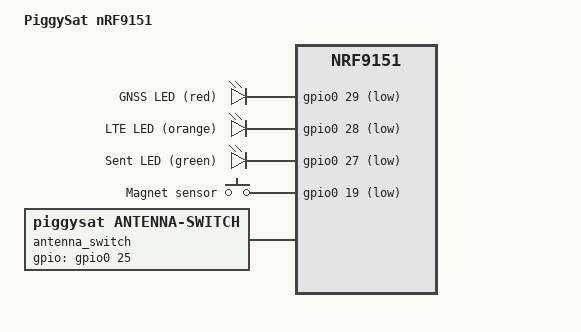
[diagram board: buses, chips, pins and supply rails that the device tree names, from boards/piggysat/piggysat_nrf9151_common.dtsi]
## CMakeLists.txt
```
#
# Copyright (c) 2020 Nordic Semiconductor
#
# SPDX-License-Identifier: LicenseRef-Nordic-5-Clause
#

cmake_minimum_required(VERSION 3.20.0)

# Local secrets (access token) live in a git-ignored file, see secrets.conf.example.
if(EXISTS ${CMAKE_CURRENT_LIST_DIR}/secrets.conf)
  list(APPEND EXTRA_CONF_FILE ${CMAKE_CURRENT_LIST_DIR}/secrets.conf)
else()
  message(WARNING "secrets.conf not found: CONFIG_APP_THINGSBOARD_ACCESS_TOKEN is empty "
                  "(copy secrets.conf.example to secrets.conf)")
endif()

find_package(Zephyr REQUIRED HINTS $ENV{ZEPHYR_BASE})
project(piggy-sat)

# NORDIC SDK APP START
target_sources(app PRIVATE
	src/main.c
	src/app_antenna.c
	src/app_leds.c
	src/app_button.c
	src/app_gnss.c
	src/app_rftest.c
	src/app_simtest.c
	src/app_shell.c
	src/app_modem.c
	src/app_transport.c
)
# NORDIC SDK APP END

zephyr_include_directories(src)

# Test tool: keep the debug port permanently open so the debugger and RTT always work, even
# after a full chip erase. The "unprotected" value is merged into UICR.APPROTECT and
# UICR.SECUREAPPROTECT of the flashed image (tfm_merged.hex); with the default
# NRF_APPROTECT_USE_UICR, the firmware then opens both access ports at boot.
# Remove this for production firmware.
if(CONFIG_TFM_FLASH_MERGED_BINARY AND NOT CONFIG_PARTITION_MANAGER_ENABLED)
  set(TFM_MERGED_HEX ${CMAKE_BINARY_DIR}/zephyr/tfm_merged.hex)
  add_custom_target(uicr_debug_open ALL
    COMMAND ${PYTHON_EXECUTABLE} ${ZEPHYR_BASE}/scripts/build/mergehex.py --overlap=replace
            -o ${TFM_MERGED_HEX} ${TFM_MERGED_HEX}
            ${CMAKE_CURRENT_SOURCE_DIR}/boards/piggysat/uicr_debug_open.hex
    COMMENT "Adding UICR debug-open values to tfm_merged.hex"
  )
  add_dependencies(uicr_debug_open zephyr_final)
endif()
```

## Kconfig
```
#
# Copyright (c) 2020 Nordic Semiconductor ASA
#
# SPDX-License-Identifier: LicenseRef-Nordic-5-Clause
#

menu "piggy_sat"

menu "LTE message test"

config APP_TELEMETRY_MESSAGE
	string "Telemetry message"
	default ""
	help
	  String placed in the "message" field of the telemetry JSON.

config APP_THINGSBOARD_HOST
	string "ThingsBoard host name or IP address"
	default ""
	help
	  Host name or literal IP address used for CoAP telemetry uploads to
	  ThingsBoard.

config APP_THINGSBOARD_IPV4
	string "ThingsBoard IPv4 address override"
	default ""
	help
	  Optional numeric IPv4 address used to bypass DNS resolution entirely.
	  When set, this address is used instead of APP_THINGSBOARD_HOST.

config APP_THINGSBOARD_PORT
	int "ThingsBoard CoAP port number"
	default 5683

config APP_THINGSBOARD_ACCESS_TOKEN
	string "ThingsBoard access token"
	default ""
	help
	  Access token inserted into the CoAP telemetry resource path
	  api/v1/<token>/telemetry.

config APP_COAP_ACK_TIMEOUT_MS
	int "CoAP initial ACK timeout in milliseconds"
	default 8000
	range 1000 100000
	help
	  Initial wait for the ACK of a confirmable CoAP request before it is
	  retransmitted. Each retransmission doubles the wait. NTN round trips
	  are long, so this is much higher than the CoAP default of 2 s to
	  avoid spending satellite airtime on needless retransmissions.

config APP_COAP_MAX_RETRANSMIT
	int "CoAP maximum retransmissions"
	default 2
	range 0 10
	help
	  Number of retransmissions of an unacknowledged telemetry request.
	  The application waits for the full retransmission sequence to end
	  before it counts the upload as failed.

config APP_LTE_ATTACH_TIMEOUT_SECONDS
	int "LTE attach timeout in seconds"
	default 600
	range 10 3600
	help
	  Maximum time the LTE message test waits for network registration
	  and PDN activation before giving up.

endmenu

menu "Modem and NTN"

config APP_APN
	string "APN for PDP context 0"
	default ""
	help
	  APN configured explicitly on the default PDP context before the modem
	  starts the network connection attempt.

config APP_MODEM_FW_EXPECTED
	string "Required modem firmware token"
	default "mfw_nrf9151-ntn"
	help
	  Substring that must be present in the modem firmware version returned
	  by AT+CGMR during boot. Leave empty to disable the boot-time firmware
	  compatibility check.

config APP_BAND_LOCK_LIST
	string "Band lock list"
	default "255,256"
	help
	  Comma-separated list of bands locked before the connection attempt.
	  For NTN operation, use NTN-only bands such as 255 and 256.

config APP_NTN_LATITUDE
	string "NTN latitude in degrees"
	default "45.4064"
	help
	  Fixed latitude given to the modem through ntn_location_set() for the
	  LTE message test. GNSS positions are not stored, so the modem needs a
	  configured location close to the real one to attach. Defaults to
	  Padova, Italy.

config APP_NTN_LONGITUDE
	string "NTN longitude in degrees"
	default "11.8768"
	help
	  Fixed longitude given to the modem through ntn_location_set().

config APP_NTN_ALTITUDE_METERS
	string "NTN altitude in meters"
	default "12.0"
	help
	  Fixed altitude given to the modem through ntn_location_set().

config APP_NTN_LOCATION_VALIDITY_SECONDS
	int "NTN location validity in seconds"
	default 43200
	range 0 2147483647
	help
	  Validity parameter passed to ntn_location_set(). A value of 0 means
	  infinite validity.

config APP_PSM_ENABLE
	bool "Enable LTE Power Saving Mode (PSM)"
	select LTE_PSM_REQ

config APP_EDRX_ENABLE
	bool "Enable LTE enhanced Discontinuous Reception (eDRX)"
	select LTE_EDRX_REQ

endmenu

menu "LTE CW TX test"

config APP_CW_BAND
	int "CW test band"
	default 255
	help
	  3GPP band number passed to AT%XRFTEST.

config APP_CW_FREQUENCY_100KHZ
	int "CW test frequency in 100 kHz units"
	default 16435
	range 6000 22000
	help
	  Uplink frequency passed to AT%XRFTEST, in 100 kHz units. The default
	  16435 (1643.5 MHz) is the middle of the band 255 uplink. The CW tone is
	  offset from this frequency by the modem (48.75 kHz in NB-IoT mode).

config APP_CW_POWER_DBM
	int "CW test output power in dBm"
	default 23
	range -50 23
	help
	  Requested TX power at the SiP antenna port.

endmenu

endmenu

module = APP
module-str = piggy_sat
source "$(ZEPHYR_BASE)/subsys/logging/Kconfig.template.log_config"

menu "Zephyr Kernel"
source "Kconfig.zephyr"
endmenu
```

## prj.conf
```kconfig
#
# Copyright (c) 2020 Nordic Semiconductor ASA
#
# SPDX-License-Identifier: LicenseRef-Nordic-5-Clause
#

# TF-M config
CONFIG_TFM_PROFILE_TYPE_MINIMAL=y

# General config
CONFIG_PICOLIBC_IO_FLOAT=y
CONFIG_LOG=y
CONFIG_LOG_MODE_MINIMAL=n
CONFIG_LOG_MODE_DEFERRED=y
CONFIG_LOG_DEFAULT_LEVEL=3
CONFIG_ASSERT=y
CONFIG_ASSERT_NO_COND_INFO=y
CONFIG_ASSERT_NO_MSG_INFO=y
CONFIG_HW_STACK_PROTECTION=y
CONFIG_RESET_ON_FATAL_ERROR=y

# Test shell (backend selected per board, RTT on PiggySat)
CONFIG_SHELL=y
CONFIG_SHELL_STACK_SIZE=4096
CONFIG_SHELL_LOG_BACKEND=y
# The NCS "lte" link-control commands clash with the test tool's "lte" command
CONFIG_LTE_SHELL=n
# Only "help" and the test commands: drop Zephyr's default shell commands
CONFIG_SHELL_CMDS=n
CONFIG_DATE_SHELL=n
CONFIG_DEVICE_SHELL=n
CONFIG_DEVMEM_SHELL=n
CONFIG_KERNEL_SHELL=n

# Network
CONFIG_NETWORKING=y
CONFIG_NET_NATIVE=n
CONFIG_NET_UDP=y
CONFIG_NET_SOCKETS=y
CONFIG_NET_SOCKETS_OFFLOAD=y
CONFIG_POSIX_API=y
CONFIG_COAP=y
CONFIG_COAP_CLIENT=y
CONFIG_COAP_CLIENT_STACK_SIZE=4096
CONFIG_COAP_CLIENT_MESSAGE_SIZE=256
CONFIG_COAP_CLIENT_MESSAGE_HEADER_SIZE=64
CONFIG_COAP_CLIENT_MAX_PATH_LENGTH=96

# LTE link control
CONFIG_LTE_LINK_CONTROL=y
CONFIG_LTE_NETWORK_MODE_DEFAULT=y

# Modem library
CONFIG_NRF_MODEM_LIB=y
CONFIG_NTN=y
CONFIG_MODEM_INFO=y
CONFIG_AT_MONITOR_HEAP_SIZE=2048

# Heap and stacks
CONFIG_HEAP_MEM_POOL_SIZE=2048
CONFIG_MAIN_STACK_SIZE=8192
CONFIG_SYSTEM_WORKQUEUE_STACK_SIZE=2048
CONFIG_DEBUG_COREDUMP=y
CONFIG_DEBUG_COREDUMP_BACKEND_LOGGING=y
CONFIG_DEBUG_COREDUMP_MEMORY_DUMP_MIN=y

# LTE parameters
CONFIG_APP_APN="go.mono"
CONFIG_APP_MODEM_FW_EXPECTED="mfw_nrf9151-ntn"
CONFIG_APP_BAND_LOCK_LIST="255,256"
CONFIG_APP_NTN_LATITUDE="45.4064"
CONFIG_APP_NTN_LONGITUDE="11.8768"
CONFIG_APP_NTN_ALTITUDE_METERS="12.0"
CONFIG_APP_NTN_LOCATION_VALIDITY_SECONDS=43200

## PSM
CONFIG_APP_PSM_ENABLE=n

## eDRX
CONFIG_APP_EDRX_ENABLE=n

## Enable required LTE link control modules
CONFIG_LTE_LC_EDRX_MODULE=y
CONFIG_LTE_LC_PDN_MODULE=y
CONFIG_LTE_LC_PSM_MODULE=y

# LTE message test
CONFIG_APP_TELEMETRY_MESSAGE="help"
CONFIG_APP_THINGSBOARD_HOST="coap.thingsboard.cloud"
CONFIG_APP_THINGSBOARD_IPV4=""
CONFIG_APP_THINGSBOARD_PORT=5683
# Access token: set it in secrets.conf (git-ignored), see secrets.conf.example
CONFIG_APP_LTE_ATTACH_TIMEOUT_SECONDS=600

# LTE CW TX test (band 255 uplink centre)
CONFIG_APP_CW_BAND=255
CONFIG_APP_CW_FREQUENCY_100KHZ=16435
CONFIG_APP_CW_POWER_DBM=23
```

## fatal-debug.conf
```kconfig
# SPDX-License-Identifier: Apache-2.0

CONFIG_RESET_ON_FATAL_ERROR=n
CONFIG_LOG_MODE_DEFERRED=n
CONFIG_LOG_MODE_IMMEDIATE=y
```

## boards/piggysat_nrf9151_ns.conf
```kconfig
# SPDX-License-Identifier: Apache-2.0

# PiggySat: no UART, logs over RTT through the TC2030 SWD connector
CONFIG_LOG_BACKEND_RTT=y
```

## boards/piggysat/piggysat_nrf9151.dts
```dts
/*
 * SPDX-License-Identifier: Apache-2.0
 */

/dts-v1/;
#include <nordic/nrf9151_laca.dtsi>
#include "piggysat_nrf9151_common.dtsi"

/ {
	chosen {
		zephyr,sram = &sram0_s;
		zephyr,flash = &flash0;
		zephyr,code-partition = &slot0_partition;
		zephyr,sram-secure-partition = &sram0_s;
		zephyr,sram-non-secure-partition = &sram0_ns;
	};
};
```

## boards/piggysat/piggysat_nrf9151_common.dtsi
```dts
/*
 * SPDX-License-Identifier: Apache-2.0
 *
 * PiggySat board (nRF9151 LACA). Pad numbers refer to the nRF9151 LGA package.
 *
 * Not available on this board: UART, I2C, SPI, external flash, MAGPIO/COEX
 * (no external LNA control). Logs go over RTT through the TC2030 SWD connector.
 */
#include <zephyr/dt-bindings/input/input-event-codes.h>

/ {
	model = "PiggySat nRF9151";
	compatible = "piggysat,piggysat-nrf9151";

	/* LEDs are tied to 3Vcc through a resistor and sunk by the GPIO. */
	leds {
		compatible = "gpio-leds";

		gnss_led: led_0 {
			gpios = <&gpio0 29 GPIO_ACTIVE_LOW>;	/* pad 48, D1, R8 4k7 */
			label = "GNSS LED (red)";
		};

		lte_led: led_1 {
			gpios = <&gpio0 28 GPIO_ACTIVE_LOW>;	/* pad 47, D2, R1 4k7 */
			label = "LTE LED (orange)";
		};

		sent_led: led_2 {
			gpios = <&gpio0 27 GPIO_ACTIVE_LOW>;	/* pad 45, D3, R4 470R */
			label = "Sent LED (green)";
		};
	};

	buttons {
		compatible = "gpio-keys";

		/* Magnet sensor S1 (TMR1304S) push-pull output: active (low) = magnet present. */
		magnet_sensor: button_0 {
			gpios = <&gpio0 19 GPIO_ACTIVE_LOW>;	/* pad 80, S1 */
			label = "Magnet sensor";
			zephyr,code = <INPUT_KEY_0>;
		};
	};

	/* J3 header (3Vcc / SW / GND) powers the external antenna selection switch
	 * and drives its control line: low = LTE, high (active) = GNSS.
	 */
	antenna_switch: antenna-switch {
		compatible = "piggysat,antenna-switch";
		gpios = <&gpio0 25 GPIO_ACTIVE_HIGH>;	/* pad 12 */
	};

	aliases {
		led0 = &gnss_led;
		led1 = &lte_led;
		led2 = &sent_led;
		sw0 = &magnet_sensor;
		watchdog0 = &wdt0;
	};
};

&gpiote {
	status = "okay";
};

&gpio0 {
	status = "okay";
};

/* Include default memory partition configuration file */
#include <nordic/nrf91xx_partition.dtsi>

/*
 * No bootloader on this board. The default layout reserves 0x0-0x10000 for
 * MCUboot, and with devicetree partitioning (NCS v3.4+, no Partition Manager)
 * that would leave the reset vector empty. Drop the MCUboot and update slots
 * and start image slot 0 at 0x0:
 *   0x0000_0000 TF-M secure image     (256 KB)
 *   0x0004_0000 Non-secure application (256 KB)
 * TF-M storage areas stay at 0xf0000 and above.
 */
/delete-node/ &boot_partition;
/delete-node/ &slot1_partition;

&slot0_partition {
	reg = <0x00000000 0x80000>;
	ranges = <0x0 0x0 0x80000>;
};

&slot0_ns_partition {
	reg = <0x00040000 0x40000>;
};
```

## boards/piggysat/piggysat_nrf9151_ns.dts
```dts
/*
 * SPDX-License-Identifier: Apache-2.0
 */

/dts-v1/;
#include <arm/nordic/nrf9151_ns_laca.dtsi>
#include "piggysat_nrf9151_common.dtsi"

/ {
	chosen {
		zephyr,flash = &flash0;
		zephyr,sram = &sram0_ns_app;
		zephyr,code-partition = &slot0_ns_partition;
	};
};
```

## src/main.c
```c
/*
 * Copyright (c) 2020 Nordic Semiconductor ASA
 *
 * SPDX-License-Identifier: LicenseRef-Nordic-5-Clause
 */

#include "app_internal.h"

#include <zephyr/drivers/hwinfo.h>
#include <zephyr/logging/log.h>

#include <modem/modem_info.h>
#include <modem/nrf_modem_lib.h>
#include <modem/ntn.h>

LOG_MODULE_REGISTER(app_main, CONFIG_APP_LOG_LEVEL);

static void log_reset_cause_flags(const char *label, uint32_t flags)
{
	if (flags & RESET_PIN)
	{
		LOG_INF("%s: pin", label);
	}
	if (flags & RESET_SOFTWARE)
	{
		LOG_INF("%s: software", label);
	}
	if (flags & RESET_BROWNOUT)
	{
		LOG_INF("%s: brownout", label);
	}
	if (flags & RESET_POR)
	{
		LOG_INF("%s: power-on", label);
	}
	if (flags & RESET_WATCHDOG)
	{
		LOG_INF("%s: watchdog", label);
	}
	if (flags & RESET_DEBUG)
	{
		LOG_INF("%s: debug", label);
	}
	if (flags & RESET_SECURITY)
	{
		LOG_INF("%s: security", label);
	}
	if (flags & RESET_LOW_POWER_WAKE)
	{
		LOG_INF("%s: low-power-wake", label);
	}
	if (flags & RESET_CPU_LOCKUP)
	{
		LOG_INF("%s: cpu-lockup", label);
	}
	if (flags & RESET_PARITY)
	{
		LOG_INF("%s: parity", label);
	}
	if (flags & RESET_PLL)
	{
		LOG_INF("%s: pll", label);
	}
	if (flags & RESET_CLOCK)
	{
		LOG_INF("%s: clock", label);
	}
	if (flags & RESET_HARDWARE)
	{
		LOG_INF("%s: hardware", label);
	}
	if (flags & RESET_USER)
	{
		LOG_INF("%s: user", label);
	}
	if (flags & RESET_TEMPERATURE)
	{
		LOG_INF("%s: temperature", label);
	}
	if (flags & RESET_BOOTLOADER)
	{
		LOG_INF("%s: bootloader", label);
	}
	if (flags & RESET_FLASH)
	{
		LOG_INF("%s: flash", label);
	}
}

static void log_reset_cause(void)
{
	uint32_t cause = 0U;
	uint32_t supported = 0U;
	int err;

	err = hwinfo_get_supported_reset_cause(&supported);
	if (err)
	{
		LOG_WRN("Reset cause support query failed: %d", err);
		return;
	}

	err = hwinfo_get_reset_cause(&cause);
	if (err)
	{
		LOG_WRN("Reset cause query failed: %d", err);
		return;
	}

	LOG_INF("Reset cause flags: 0x%08x (supported=0x%08x)",
			(unsigned int)cause, (unsigned int)supported);
	log_reset_cause_flags("Reset cause", cause & supported);

	err = hwinfo_clear_reset_cause();
	if (err)
	{
		LOG_WRN("Reset cause clear failed: %d", err);
	}
}

static bool modem_init(void)
{
	int err;

	ntn_register_handler(ntn_handler);

	err = nrf_modem_lib_init();
	if (err)
	{
		LOG_ERR("Failed to initialize modem library: %d", err);
		return false;
	}

	err = verify_modem_firmware();
	if (err)
	{
		return false;
	}

	err = modem_info_init();
	if (err)
	{
		LOG_ERR("Failed to initialize modem info: %d", err);
	}

	log_modem_identity();

	err = coap_client_start();
	if (err)
	{
		return false;
	}

	return true;
}

/* Board and modem init only; the tests are shell commands (see app_shell.c). */
int main(void)
{
	LOG_INF("PiggySat test tool started");
	log_reset_cause();

	(void)antenna_init();
	(void)leds_init();
	(void)button_init();
	lte_message_init();

	if (modem_init())
	{
		modem_tests_enable();
		LOG_INF("Ready. Commands: led, button, cw, gnss, lte, sim (type 'help')");
	}
	else
	{
		LOG_ERR("Modem not available: only 'led' and 'button' can run");
	}

	return 0;
}
```

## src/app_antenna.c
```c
/*
 * SPDX-License-Identifier: Apache-2.0
 */

#include "app_internal.h"

#include <errno.h>

#include <zephyr/drivers/gpio.h>
#include <zephyr/logging/log.h>

LOG_MODULE_REGISTER(app_antenna, CONFIG_APP_LOG_LEVEL);

/* J3 antenna selection switch: low = LTE, high = GNSS. */
static const struct gpio_dt_spec antenna_switch =
	GPIO_DT_SPEC_GET(DT_NODELABEL(antenna_switch), gpios);

int antenna_init(void)
{
	int err;

	if (!gpio_is_ready_dt(&antenna_switch))
	{
		LOG_ERR("Antenna switch GPIO not ready");
		return -ENODEV;
	}

	/* Start on LTE so the switch control line never floats. */
	err = gpio_pin_configure_dt(&antenna_switch, GPIO_OUTPUT_INACTIVE);
	if (err)
	{
		LOG_ERR("Failed to configure antenna switch GPIO: %d", err);
		return err;
	}

	LOG_INF("Antenna switch initialized: LTE");
	return 0;
}

/* Callers switch only while the modem radio is off (CFUN=0). */
int antenna_select(enum antenna_path path)
{
	int err = gpio_pin_set_dt(&antenna_switch, path == ANTENNA_PATH_GNSS ? 1 : 0);

	if (err)
	{
		LOG_ERR("Failed to set antenna switch: %d", err);
		return err;
	}

	LOG_INF("Antenna switched to %s", path == ANTENNA_PATH_GNSS ? "GNSS" : "LTE");
	return 0;
}
```

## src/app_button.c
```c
/*
 * SPDX-License-Identifier: Apache-2.0
 */

#include "app_internal.h"

#include <errno.h>

#include <zephyr/drivers/gpio.h>
#include <zephyr/logging/log.h>
#include <zephyr/shell/shell.h>

LOG_MODULE_REGISTER(app_button, CONFIG_APP_LOG_LEVEL);

/* Touch button: TTP223 push-pull output, active high (sw0 in the board devicetree). */
static const struct gpio_dt_spec button = GPIO_DT_SPEC_GET(DT_ALIAS(sw0), gpios);

static struct gpio_callback button_cb;
static const struct shell *button_sh;
static bool button_test_active;
static int button_last_state;
static unsigned int button_presses;

/* The GPIO callback runs in interrupt context; print from a work item. */
static void button_work_fn(struct k_work *work)
{
	int state;

	ARG_UNUSED(work);

	if (!button_test_active)
	{
		return;
	}

	state = gpio_pin_get_dt(&button);
	if (state < 0 || state == button_last_state)
	{
		return;
	}

	button_last_state = state;
	if (state)
	{
		button_presses++;
		shell_print(button_sh, "button: pressed (#%u)", button_presses);
	}
	else
	{
		shell_print(button_sh, "button: released");
	}
}

K_WORK_DEFINE(button_work, button_work_fn);

static void button_isr(const struct device *dev, struct gpio_callback *cb, uint32_t pins)
{
	ARG_UNUSED(dev);
	ARG_UNUSED(cb);
	ARG_UNUSED(pins);

	k_work_submit(&button_work);
}

int button_init(void)
{
	int err;

	if (!gpio_is_ready_dt(&button))
	{
		LOG_ERR("Button GPIO not ready");
		return -ENODEV;
	}

	err = gpio_pin_configure_dt(&button, GPIO_INPUT);
	if (err)
	{
		LOG_ERR("Failed to configure button GPIO: %d", err);
		return err;
	}

	gpio_init_callback(&button_cb, button_isr, BIT(button.pin));
	err = gpio_add_callback_dt(&button, &button_cb);
	if (err)
	{
		LOG_ERR("Failed to add button callback: %d", err);
	}

	return err;
}

int button_test_start(const struct shell *sh)
{
	int err;

	if (button_test_active)
	{
		return -EALREADY;
	}

	button_sh = sh;
	button_presses = 0;
	button_last_state = gpio_pin_get_dt(&button);
	button_test_active = true;

	err = gpio_pin_interrupt_configure_dt(&button, GPIO_INT_EDGE_BOTH);
	if (err)
	{
		button_test_active = false;
		shell_error(sh, "button: failed to enable the interrupt: %d", err);
		return err;
	}

	shell_print(sh, "button: currently %s. Touch the button; 'button stop' ends the test.",
				button_last_state > 0 ? "pressed" : "released");
	return 0;
}

int button_test_stop(const struct shell *sh)
{
	if (!button_test_active)
	{
		return -EALREADY;
	}

	(void)gpio_pin_interrupt_configure_dt(&button, GPIO_INT_DISABLE);
	button_test_active = false;
	shell_print(sh, "button: stopped (%u presses)", button_presses);
	return 0;
}
```

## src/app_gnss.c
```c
/*
 * SPDX-License-Identifier: Apache-2.0
 */

#include "app_internal.h"

#include <errno.h>
#include <string.h>
#include <time.h>

#include <nrf_modem_gnss.h>
#include <zephyr/logging/log.h>
#include <zephyr/shell/shell.h>
#include <zephyr/sys/printk.h>

LOG_MODULE_REGISTER(app_gnss, CONFIG_APP_LOG_LEVEL);

#define GNSS_NMEA_QUEUE_LEN 16

/* The GNSS event handler runs in interrupt context, so NMEA sentences are
 * queued there and printed to the shell from a work item.
 */
K_MSGQ_DEFINE(gnss_nmea_q, sizeof(struct nrf_modem_gnss_nmea_data_frame),
			  GNSS_NMEA_QUEUE_LEN, 4);

static atomic_t gnss_nmea_dropped;
static const struct shell *gnss_sh;
static bool gnss_active;

void format_timestamp(char *buffer, size_t buffer_len)
{
	time_t now = time(NULL);
	struct tm tm_utc;

	if ((now == (time_t)-1) || (gmtime_r(&now, &tm_utc) == NULL))
	{
		snprintk(buffer, buffer_len, "unavailable");
		return;
	}

	strftime(buffer, buffer_len, "%Y-%m-%dT%H:%M:%S", &tm_utc);
}

static void gnss_nmea_work_fn(struct k_work *work)
{
	struct nrf_modem_gnss_nmea_data_frame nmea;
	char *end;

	ARG_UNUSED(work);

	while (k_msgq_get(&gnss_nmea_q, &nmea, K_NO_WAIT) == 0)
	{
		/* NMEA sentences end with CRLF; the shell adds its own line ending. */
		end = strpbrk(nmea.nmea_str, "\r\n");
		if (end != NULL)
		{
			*end = '\0';
		}

		if (gnss_active && gnss_sh != NULL)
		{
			shell_print(gnss_sh, "%s", nmea.nmea_str);
		}
	}
}

K_WORK_DEFINE(gnss_nmea_work, gnss_nmea_work_fn);

static void gnss_event_handler(int event)
{
	struct nrf_modem_gnss_nmea_data_frame nmea;

	switch (event)
	{
	case NRF_MODEM_GNSS_EVT_NMEA:
		if (nrf_modem_gnss_read(&nmea, sizeof(nmea), NRF_MODEM_GNSS_DATA_NMEA) != 0)
		{
			break;
		}
		if (k_msgq_put(&gnss_nmea_q, &nmea, K_NO_WAIT) != 0)
		{
			atomic_inc(&gnss_nmea_dropped);
		}
		k_work_submit(&gnss_nmea_work);
		break;
	default:
		break;
	}
}

static int gnss_start_continuous(void)
{
	int err;

	err = modem_enter_min_func();
	if (err)
	{
		return err;
	}

	err = antenna_select(ANTENNA_PATH_GNSS);
	if (err)
	{
		return err;
	}

	err = lte_lc_system_mode_set(LTE_LC_SYSTEM_MODE_GPS, LTE_LC_SYSTEM_MODE_PREFER_AUTO);
	if (err)
	{
		LOG_ERR("Failed to set modem to GNSS-only mode: %d", err);
		return err;
	}

	err = lte_lc_func_mode_set(LTE_LC_FUNC_MODE_ACTIVATE_GNSS);
	if (err)
	{
		LOG_ERR("Failed to activate GNSS functional mode: %d", err);
		return err;
	}

	err = nrf_modem_gnss_event_handler_set(gnss_event_handler);
	if (err)
	{
		LOG_ERR("Failed to set GNSS event handler: %d", err);
		return err;
	}

	err = nrf_modem_gnss_nmea_mask_set(NRF_MODEM_GNSS_NMEA_GGA_MASK |
									   NRF_MODEM_GNSS_NMEA_GLL_MASK |
									   NRF_MODEM_GNSS_NMEA_GSA_MASK |
									   NRF_MODEM_GNSS_NMEA_GSV_MASK |
									   NRF_MODEM_GNSS_NMEA_RMC_MASK);
	if (err)
	{
		LOG_ERR("Failed to set NMEA mask: %d", err);
		return err;
	}

	/* Continuous tracking (1 s fix interval), no fix retry timeout. */
	err = nrf_modem_gnss_fix_retry_set(0);
	if (err)
	{
		LOG_ERR("Failed to set GNSS fix retry: %d", err);
		return err;
	}

	err = nrf_modem_gnss_fix_interval_set(1);
	if (err)
	{
		LOG_ERR("Failed to set GNSS fix interval: %d", err);
		return err;
	}

	k_msgq_purge(&gnss_nmea_q);
	atomic_set(&gnss_nmea_dropped, 0);

	err = nrf_modem_gnss_start();
	if (err)
	{
		LOG_ERR("Failed to start GNSS: %d", err);
		return err;
	}

	return 0;
}

static void gnss_shutdown(void)
{
	int err = nrf_modem_gnss_stop();

	if (err)
	{
		LOG_WRN("Failed to stop GNSS: %d", err);
	}

	(void)lte_lc_func_mode_set(LTE_LC_FUNC_MODE_DEACTIVATE_GNSS);
	(void)modem_enter_min_func();
}

int gnss_test_start(const struct shell *sh)
{
	int err;

	gnss_sh = sh;
	gnss_active = true;
	shell_print(sh, "gnss: continuous reception, NMEA output. Positions are not stored. "
				"'gnss stop' ends the test.");

	err = gnss_start_continuous();
	if (err)
	{
		gnss_active = false;
		shell_error(sh, "gnss: start failed: %d", err);
		gnss_shutdown();
		return err;
	}

	return 0;
}

int gnss_test_stop(const struct shell *sh)
{
	if (!gnss_active)
	{
		return -EALREADY;
	}

	gnss_active = false;
	gnss_shutdown();
	shell_print(sh, "gnss: stopped (%d NMEA sentences dropped), modem offline",
				(int)atomic_get(&gnss_nmea_dropped));
	return 0;
}
```

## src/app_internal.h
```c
/*
 * SPDX-License-Identifier: Apache-2.0
 */

#ifndef APP_INTERNAL_H_
#define APP_INTERNAL_H_

#include <stdbool.h>
#include <stddef.h>
#include <stdint.h>
#include <time.h>
#include <sys/socket.h>

#include <zephyr/kernel.h>

#include <modem/lte_lc.h>
#include <modem/ntn.h>

#define APP_ENDPOINT_STRING_SIZE 64
#define APP_TIMESTAMP_STRING_SIZE 32
#define APP_MESSAGE_STRING_SIZE 192
#define APP_RAW_PAYLOAD_STRING_SIZE \
	((APP_MESSAGE_STRING_SIZE - 1) * 4 + 4)
#define APP_MODEM_FW_VERSION_SIZE 128
#define APP_MODEM_ID_STRING_SIZE 128

enum antenna_path
{
	ANTENNA_PATH_LTE,
	ANTENNA_PATH_GNSS,
};

struct shell;

/* Shell commands (app_shell.c) */
void modem_tests_enable(void);
void modem_test_release(void);

int antenna_init(void);
int antenna_select(enum antenna_path path);

int leds_init(void);
int leds_test_start(void);
int leds_test_stop(void);

int button_init(void);
int button_test_start(const struct shell *sh);
int button_test_stop(const struct shell *sh);

int gnss_test_start(const struct shell *sh);
int gnss_test_stop(const struct shell *sh);

int cw_start(const struct shell *sh);
int cw_stop(const struct shell *sh);

int sim_test(const struct shell *sh);

int verify_modem_firmware(void);
void log_modem_identity(void);
int modem_enter_min_func(void);
int lte_modem_configure(void);
int lte_attach_start(void);
bool lte_link_ready(void);
void ntn_handler(const struct ntn_evt *const evt);

int coap_client_start(void);
void lte_message_init(void);
void lte_message_start(const struct shell *sh);
int lte_message_abort(void);
int lte_info_print(const struct shell *sh);

void format_timestamp(char *buffer, size_t buffer_len);

#endif
```

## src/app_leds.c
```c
/*
 * SPDX-License-Identifier: Apache-2.0
 */

#include "app_internal.h"

#include <errno.h>

#include <zephyr/drivers/gpio.h>
#include <zephyr/logging/log.h>
#include <zephyr/sys/util.h>

LOG_MODULE_REGISTER(app_leds, CONFIG_APP_LOG_LEVEL);

#define LED_STEP_MS 500

static const struct gpio_dt_spec leds[] = {
	GPIO_DT_SPEC_GET(DT_ALIAS(led0), gpios),
	GPIO_DT_SPEC_GET(DT_ALIAS(led1), gpios),
	GPIO_DT_SPEC_GET(DT_ALIAS(led2), gpios),
};

static const char *const led_names[] = {"green", "orange", "red"};

static struct k_work_delayable led_test_work;
static size_t led_test_step;
static bool led_test_active;

static void leds_set_all(int value)
{
	for (size_t i = 0; i < ARRAY_SIZE(leds); i++)
	{
		(void)gpio_pin_set_dt(&leds[i], value);
	}
}

/* Steps through green, orange, red one at a time, then all on. */
static void led_test_work_fn(struct k_work *work)
{
	ARG_UNUSED(work);

	if (led_test_step < ARRAY_SIZE(leds))
	{
		leds_set_all(0);
		(void)gpio_pin_set_dt(&leds[led_test_step], 1);
	}
	else
	{
		leds_set_all(1);
	}

	led_test_step = (led_test_step + 1) % (ARRAY_SIZE(leds) + 1);
	k_work_schedule(&led_test_work, K_MSEC(LED_STEP_MS));
}

int leds_init(void)
{
	int err;

	k_work_init_delayable(&led_test_work, led_test_work_fn);

	for (size_t i = 0; i < ARRAY_SIZE(leds); i++)
	{
		if (!gpio_is_ready_dt(&leds[i]))
		{
			LOG_ERR("LED %s GPIO not ready", led_names[i]);
			return -ENODEV;
		}

		err = gpio_pin_configure_dt(&leds[i], GPIO_OUTPUT_INACTIVE);
		if (err)
		{
			LOG_ERR("Failed to configure LED %s: %d", led_names[i], err);
			return err;
		}
	}

	return 0;
}

int leds_test_start(void)
{
	if (led_test_active)
	{
		return -EALREADY;
	}

	led_test_active = true;
	led_test_step = 0;
	k_work_schedule(&led_test_work, K_NO_WAIT);
	return 0;
}

int leds_test_stop(void)
{
	struct k_work_sync sync;

	if (!led_test_active)
	{
		return -EALREADY;
	}

	led_test_active = false;
	(void)k_work_cancel_delayable_sync(&led_test_work, &sync);
	leds_set_all(0);
	return 0;
}
```

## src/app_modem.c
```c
/*
 * Copyright (c) 2020 Nordic Semiconductor ASA
 *
 * SPDX-License-Identifier: LicenseRef-Nordic-5-Clause
 */

#include "app_internal.h"

#include <errno.h>
#include <stdbool.h>
#include <stdlib.h>
#include <string.h>

#include <modem/at_parser.h>
#include <modem/modem_info.h>
#include <nrf_modem_at.h>
#include <zephyr/logging/log.h>
#include <zephyr/shell/shell.h>

LOG_MODULE_REGISTER(app_modem, CONFIG_APP_LOG_LEVEL);

static bool lte_connected;
static bool lte_pdn_active;
static bool lte_link_up;
static struct k_spinlock lte_link_lock;

static void lte_handler(const struct lte_lc_evt *const evt);

static void lte_registered_set(bool registered)
{
	k_spinlock_key_t key = k_spin_lock(&lte_link_lock);

	lte_connected = registered;
	if (!registered)
	{
		lte_pdn_active = false;
	}
	k_spin_unlock(&lte_link_lock, key);
}

static void lte_pdn_active_set(bool active)
{
	k_spinlock_key_t key = k_spin_lock(&lte_link_lock);

	lte_pdn_active = active;
	k_spin_unlock(&lte_link_lock, key);
}

static void lte_link_update(void)
{
	bool ready;
	bool came_up;
	bool went_down;
	k_spinlock_key_t key = k_spin_lock(&lte_link_lock);

	ready = lte_connected && lte_pdn_active;
	came_up = ready && !lte_link_up;
	went_down = !ready && lte_link_up;
	lte_link_up = ready;
	k_spin_unlock(&lte_link_lock, key);

	if (came_up)
	{
		LOG_INF("LTE link up");
	}
	else if (went_down)
	{
		LOG_WRN("LTE link down, waiting for the modem to reattach");
	}
}

bool lte_link_ready(void)
{
	bool ready;
	k_spinlock_key_t key = k_spin_lock(&lte_link_lock);

	ready = lte_link_up;
	k_spin_unlock(&lte_link_lock, key);

	return ready;
}

/* GNSS positions are not stored, so NTN gets the fixed location from Kconfig. */
static int ntn_static_location_set(void)
{
	double latitude = strtod(CONFIG_APP_NTN_LATITUDE, NULL);
	double longitude = strtod(CONFIG_APP_NTN_LONGITUDE, NULL);
	double altitude = strtod(CONFIG_APP_NTN_ALTITUDE_METERS, NULL);
	int err;

	err = ntn_location_set(latitude, longitude, (float)altitude,
						   CONFIG_APP_NTN_LOCATION_VALIDITY_SECONDS);
	if (err)
	{
		LOG_ERR("Failed to set NTN location: %d", err);
		return err;
	}

	LOG_INF("NTN location set: lat=%.6f lon=%.6f alt=%.1f validity=%d",
			latitude, longitude, altitude, CONFIG_APP_NTN_LOCATION_VALIDITY_SECONDS);

	return 0;
}

void ntn_handler(const struct ntn_evt *const evt)
{
	if (evt->type != NTN_EVT_LOCATION_REQUEST)
	{
		return;
	}

	LOG_INF("NTN location request: requested=%d accuracy=%u m",
			evt->location_request.requested,
			evt->location_request.accuracy);

	if (evt->location_request.requested)
	{
		(void)ntn_static_location_set();
	}
}

static char *modem_fw_version_trim(char *version)
{
	char *line_end;

	while (*version == '\r' || *version == '\n' || *version == ' ' || *version == '\t')
	{
		version++;
	}

	line_end = strpbrk(version, "\r\n");
	if (line_end != NULL)
	{
		*line_end = '\0';
	}

	return version;
}

static int modem_ident_string_get(const char *at_cmd, char *buf, size_t buf_len)
{
	int err;

	if (buf == NULL || buf_len == 0U)
	{
		return -EINVAL;
	}

	err = nrf_modem_at_cmd(buf, buf_len, "%s", at_cmd);
	if (err)
	{
		buf[0] = '\0';
		return err;
	}

	(void)modem_fw_version_trim(buf);
	return 0;
}

void log_modem_identity(void)
{
	char modem_model[APP_MODEM_ID_STRING_SIZE];
	char modem_hw[APP_MODEM_ID_STRING_SIZE];
	int err;

	LOG_INF("NTN requires nRF9151 LACA A1 hardware with mfw_nrf9151-ntn firmware");

	err = modem_ident_string_get("AT+CGMM", modem_model, sizeof(modem_model));
	if (!err && modem_model[0] != '\0')
	{
		LOG_INF("Detected modem model: %s", modem_model);
	}
	else
	{
		LOG_WRN("Detected modem model unavailable: %d", err);
	}

	err = modem_info_get_hw_version(modem_hw, sizeof(modem_hw));
	if (!err && modem_hw[0] != '\0')
	{
		LOG_INF("Detected modem HW version: %s", modem_hw);
	}
	else
	{
		LOG_WRN("Detected modem HW version unavailable: %d", err);
	}
}

static void log_ntn_system_mode_failure_diagnostics(void)
{
	char response[APP_MODEM_ID_STRING_SIZE];
	int err;

	(void)nrf_modem_at_printf("AT+CMEE=1");
	err = nrf_modem_at_cmd(response, sizeof(response), "AT%%XSYSTEMMODE=0,0,0,0,1");

	if (err > 0)
	{
		LOG_ERR("Raw AT%%XSYSTEMMODE failure: ret=%d type=%d code=%d resp='%s'",
				err, nrf_modem_at_err_type(err), nrf_modem_at_err(err),
				modem_fw_version_trim(response));
	}
	else if (err < 0)
	{
		LOG_ERR("Raw AT%%XSYSTEMMODE transport failure: %d", err);
	}
	else
	{
		LOG_WRN("Raw AT%%XSYSTEMMODE unexpectedly succeeded during diagnostics");
	}

	LOG_WRN("If NTN mode keeps failing, verify the module marking is nRF9151 LACA A1 "
			"and the flashed modem firmware is mfw_nrf9151-ntn");
}

int verify_modem_firmware(void)
{
	char modem_fw[APP_MODEM_FW_VERSION_SIZE];
	char *version;
	int err;

	if (strlen(CONFIG_APP_MODEM_FW_EXPECTED) == 0U)
	{
		LOG_WRN("Modem firmware boot check disabled");
		return 0;
	}

	err = nrf_modem_at_cmd(modem_fw, sizeof(modem_fw), "AT+CGMR");
	if (err)
	{
		LOG_ERR("Failed to read modem firmware version with AT+CGMR: %d", err);
		return err;
	}

	version = modem_fw_version_trim(modem_fw);
	if (version[0] == '\0')
	{
		LOG_ERR("Modem firmware version response was empty");
		return -EIO;
	}

	LOG_INF("Detected modem firmware: %s", version);
	if (strstr(version, CONFIG_APP_MODEM_FW_EXPECTED) == NULL)
	{
		LOG_ERR("Unsupported modem firmware. Expected token '%s' but got '%s'",
				CONFIG_APP_MODEM_FW_EXPECTED, version);
		return -EINVAL;
	}

	LOG_INF("Modem firmware check passed: %s", CONFIG_APP_MODEM_FW_EXPECTED);

	return 0;
}

int modem_enter_min_func(void)
{
	int err = nrf_modem_at_printf("AT+CFUN=0");

	if (err)
	{
		LOG_ERR("Failed to put modem in minimum functionality mode: %d", err);
	}

	return err;
}

int lte_modem_configure(void)
{
	int err;

	LOG_INF("Configuring modem for NTN");
	if (strlen(CONFIG_APP_APN) == 0U)
	{
		LOG_ERR("CONFIG_APP_APN must be set before starting the connection attempt");
		return -EINVAL;
	}

	err = modem_enter_min_func();
	if (err)
	{
		return err;
	}

	err = antenna_select(ANTENNA_PATH_LTE);
	if (err)
	{
		return err;
	}

	err = lte_lc_system_mode_set(LTE_LC_SYSTEM_MODE_NTN_NBIOT,
								 LTE_LC_SYSTEM_MODE_PREFER_AUTO);
	if (err)
	{
		LOG_ERR("Failed to set modem to NTN-only mode: %d", err);
		log_ntn_system_mode_failure_diagnostics();
		return err;
	}
	LOG_INF("System mode set: NTN_NBIOT");

	err = nrf_modem_at_printf("AT%%XBANDLOCK=2,\"\",\"%s\"", CONFIG_APP_BAND_LOCK_LIST);
	if (err)
	{
		LOG_ERR("Failed to lock NTN bands %s: %d", CONFIG_APP_BAND_LOCK_LIST, err);
		LOG_WRN("Check that the configured band list contains NTN-only bands for "
				"LTE_LC_SYSTEM_MODE_NTN_NBIOT");
		return err;
	}
	LOG_INF("NTN band lock configured: %s", CONFIG_APP_BAND_LOCK_LIST);

	err = nrf_modem_at_printf("AT+CGDCONT=0,\"IP\",\"%s\"", CONFIG_APP_APN);
	if (err)
	{
		LOG_ERR("Failed to set APN for PDP context 0: %d", err);
		return err;
	}
	LOG_INF("APN configured on PDP context 0: %s", CONFIG_APP_APN);

	err = ntn_static_location_set();
	if (err)
	{
		return err;
	}

	LOG_INF("Modem configured for band lock %s, NTN mode, and APN '%s'",
			CONFIG_APP_BAND_LOCK_LIST, CONFIG_APP_APN);

	return 0;
}

int lte_attach_start(void)
{
	int err;

	lte_registered_set(false);
	lte_link_update();

	LOG_INF("Starting LTE attach");
	err = lte_lc_connect_async(lte_handler);
	if (err)
	{
		LOG_ERR("Failed to connect to LTE network: %d", err);
		return err;
	}

	return 0;
}

static void lte_handler(const struct lte_lc_evt *const evt)
{
	switch (evt->type)
	{
	case LTE_LC_EVT_NW_REG_STATUS:
		if ((evt->nw_reg_status == LTE_LC_NW_REG_REGISTERED_HOME) ||
			(evt->nw_reg_status == LTE_LC_NW_REG_REGISTERED_ROAMING))
		{
			lte_registered_set(true);
			LOG_INF("Network registration status: %s",
					evt->nw_reg_status == LTE_LC_NW_REG_REGISTERED_HOME ? "Connected - home" : "Connected - roaming");
			lte_link_update();
		}
		else
		{
			lte_registered_set(false);
			lte_link_update();
		}
		break;
	case LTE_LC_EVT_PDN:
		switch (evt->pdn.type)
		{
		case LTE_LC_EVT_PDN_ACTIVATED:
			lte_pdn_active_set(true);
			LOG_INF("PDN activated: cid=%u", evt->pdn.cid);
			lte_link_update();
			break;
		case LTE_LC_EVT_PDN_DEACTIVATED:
			lte_pdn_active_set(false);
			LOG_WRN("PDN deactivated: cid=%u", evt->pdn.cid);
			lte_link_update();
			break;
		case LTE_LC_EVT_PDN_NETWORK_DETACH:
			lte_pdn_active_set(false);
			LOG_WRN("PDN network detach: cid=%u", evt->pdn.cid);
			lte_link_update();
			break;
		case LTE_LC_EVT_PDN_ESM_ERROR:
			lte_pdn_active_set(false);
			LOG_ERR("PDN ESM error: cid=%u esm=%d", evt->pdn.cid, evt->pdn.esm_err);
			lte_link_update();
			break;
		case LTE_LC_EVT_PDN_SUSPENDED:
			lte_pdn_active_set(false);
			LOG_WRN("PDN suspended: cid=%u", evt->pdn.cid);
			lte_link_update();
			break;
		case LTE_LC_EVT_PDN_RESUMED:
			lte_pdn_active_set(true);
			LOG_INF("PDN resumed: cid=%u", evt->pdn.cid);
			lte_link_update();
			break;
		case LTE_LC_EVT_PDN_IPV6_UP:
			LOG_INF("PDN IPv6 up: cid=%u", evt->pdn.cid);
			break;
		case LTE_LC_EVT_PDN_IPV6_DOWN:
			LOG_WRN("PDN IPv6 down: cid=%u", evt->pdn.cid);
			break;
		case LTE_LC_EVT_PDN_APN_RATE_CONTROL_ON:
			LOG_WRN("PDN APN rate control on: cid=%u", evt->pdn.cid);
			break;
		case LTE_LC_EVT_PDN_APN_RATE_CONTROL_OFF:
			LOG_INF("PDN APN rate control off: cid=%u", evt->pdn.cid);
			break;
		case LTE_LC_EVT_PDN_CTX_DESTROYED:
			lte_pdn_active_set(false);
			LOG_WRN("PDN context destroyed: cid=%u", evt->pdn.cid);
			lte_link_update();
			break;
		default:
			break;
		}
		break;
	case LTE_LC_EVT_PSM_UPDATE:
		LOG_INF("PSM parameter update: TAU=%d s active_time=%d s",
				evt->psm_cfg.tau, evt->psm_cfg.active_time);
		break;
	case LTE_LC_EVT_EDRX_UPDATE:
		LOG_INF("eDRX parameter update: eDRX=%.2f s PTW=%.2f s",
				(double)evt->edrx_cfg.edrx, (double)evt->edrx_cfg.ptw);
		break;
	case LTE_LC_EVT_RRC_UPDATE:
		LOG_INF("RRC mode: %s",
				evt->rrc_mode == LTE_LC_RRC_MODE_CONNECTED ? "Connected" : "Idle");
		break;
	case LTE_LC_EVT_CELL_UPDATE:
		LOG_INF("LTE cell changed: cell_id=%d tracking_area=%d",
				evt->cell.id, evt->cell.tac);
		break;
	default:
		break;
	}
}

/* Network details printed by 'lte send' once attached, from AT%XMONITOR
 *
 * %XMONITOR: <reg_status>[,<full_name>,<short_name>,<plmn>,<tac>,<AcT>,<band>,<cell_id>,
 *            <phys_cell_id>,<EARFCN>,<rsrp>,<snr>,<NW-provided_eDRX_value>,<Active-Time>,
 *            <Periodic-TAU-ext>,<Periodic-TAU>]
 */
#define XMONITOR_RESPONSE_SIZE 256
#define XMONITOR_RSRP_UNKNOWN 255
#define XMONITOR_SNR_UNKNOWN 127

static const char *reg_status_text(int status)
{
	switch (status)
	{
	case LTE_LC_NW_REG_NOT_REGISTERED:
		return "not registered";
	case LTE_LC_NW_REG_REGISTERED_HOME:
		return "registered, home";
	case LTE_LC_NW_REG_SEARCHING:
		return "searching";
	case LTE_LC_NW_REG_REGISTRATION_DENIED:
		return "registration denied";
	case LTE_LC_NW_REG_UNKNOWN:
		return "unknown";
	case LTE_LC_NW_REG_REGISTERED_ROAMING:
		return "registered, roaming";
	case LTE_LC_NW_REG_UICC_FAIL:
		return "UICC failure";
	default:
		return "?";
	}
}

static const char *act_text(int act)
{
	switch (act)
	{
	case LTE_LC_LTE_MODE_LTEM:
		return "LTE-M";
	case LTE_LC_LTE_MODE_NBIOT:
		return "NB-IoT";
	case LTE_LC_LTE_MODE_NTN_NBIOT:
		return "NB-IoT NTN";
	default:
		return "?";
	}
}

static void xmonitor_string(struct at_parser *parser, size_t index, char *buf, size_t size)
{
	size_t len = size;

	if (at_parser_string_get(parser, index, buf, &len) != 0 || buf[0] == '\0')
	{
		snprintk(buf, size, "-");
	}
}

int lte_info_print(const struct shell *sh)
{
	char response[XMONITOR_RESPONSE_SIZE];
	char full_name[32];
	char short_name[32];
	char plmn[8];
	char tac[12];
	char cell_id[12];
	struct at_parser parser;
	int reg_status = -1;
	int act = -1;
	int band = -1;
	int pci = -1;
	int earfcn = -1;
	int rsrp = XMONITOR_RSRP_UNKNOWN;
	int snr = XMONITOR_SNR_UNKNOWN;
	int err;

	err = nrf_modem_at_cmd(response, sizeof(response), "AT%%XMONITOR");
	if (err)
	{
		shell_error(sh, "lte info: AT%%XMONITOR failed: %d", err);
		return -EIO;
	}

	err = at_parser_init(&parser, response);
	if (!err)
	{
		err = at_parser_num_get(&parser, 1, &reg_status);
	}
	if (err)
	{
		shell_error(sh, "lte info: cannot parse: %s", response);
		return -EBADMSG;
	}

	shell_print(sh, "Registration   %s (%d)", reg_status_text(reg_status), reg_status);
	if (reg_status != LTE_LC_NW_REG_REGISTERED_HOME &&
		reg_status != LTE_LC_NW_REG_REGISTERED_ROAMING)
	{
		shell_print(sh, "No network details (not registered)");
		return 0;
	}

	xmonitor_string(&parser, 2, full_name, sizeof(full_name));
	xmonitor_string(&parser, 3, short_name, sizeof(short_name));
	xmonitor_string(&parser, 4, plmn, sizeof(plmn));
	xmonitor_string(&parser, 5, tac, sizeof(tac));
	(void)at_parser_num_get(&parser, 6, &act);
	(void)at_parser_num_get(&parser, 7, &band);
	xmonitor_string(&parser, 8, cell_id, sizeof(cell_id));
	(void)at_parser_num_get(&parser, 9, &pci);
	(void)at_parser_num_get(&parser, 10, &earfcn);
	(void)at_parser_num_get(&parser, 11, &rsrp);
	(void)at_parser_num_get(&parser, 12, &snr);

	shell_print(sh, "Operator       %s / %s (full / short name)", full_name, short_name);
	/* PLMN = MCC (3 digits) + MNC (2 or 3 digits) */
	if (strlen(plmn) >= 5)
	{
		shell_print(sh, "MCC / MNC      %.3s / %s  (PLMN %s)", plmn, plmn + 3, plmn);
	}
	else
	{
		shell_print(sh, "MCC / MNC      - (PLMN %s)", plmn);
	}
	shell_print(sh, "Technology     %s (AcT %d)", act_text(act), act);
	shell_print(sh, "Band           %d", band);
	shell_print(sh, "EARFCN         %d", earfcn);
	shell_print(sh, "Cell ID        %s (%lu)", cell_id, strtoul(cell_id, NULL, 16));
	shell_print(sh, "Tracking area  %s (%lu)", tac, strtoul(tac, NULL, 16));
	shell_print(sh, "PCI            %d", pci);
	if (rsrp == XMONITOR_RSRP_UNKNOWN)
	{
		shell_print(sh, "RSRP           -");
	}
	else
	{
		shell_print(sh, "RSRP           %d dBm", RSRP_IDX_TO_DBM(rsrp));
	}
	if (snr == XMONITOR_SNR_UNKNOWN)
	{
		shell_print(sh, "SNR            -");
	}
	else
	{
		shell_print(sh, "SNR            %d dB", SNR_IDX_TO_DB(snr));
	}

	return 0;
}
```

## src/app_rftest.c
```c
/*
 * SPDX-License-Identifier: Apache-2.0
 */

#include "app_internal.h"

#include <errno.h>
#include <stdio.h>
#include <stdlib.h>
#include <string.h>

#include <nrf_modem_at.h>
#include <zephyr/logging/log.h>
#include <zephyr/shell/shell.h>

LOG_MODULE_REGISTER(app_rftest, CONFIG_APP_LOG_LEVEL);

/* AT%XRFTEST TX parameters (nRF91x1 production test AT commands, TX test):
 * <test>=1 (TX), <operation>=1 (ON), band, frequency (100 kHz), power (dBm),
 * system mode 0 (NB-IoT), modulation 4 (CW). For CW, RB/tone count, start and
 * subcarrier spacing are don't-care (0); bandwidth NB-IoT (0), NB index 0,
 * burst mode off (0).
 */
#define XRFTEST_SYSTEM_MODE_NBIOT 0
#define XRFTEST_MODULATION_CW 4

static bool cw_active;

static void print_at_error(const struct shell *sh, const char *what, int err)
{
	if (err > 0)
	{
		shell_error(sh, "cw: %s failed: modem error type %d, code %d", what,
					nrf_modem_at_err_type(err), nrf_modem_at_err(err));
	}
	else
	{
		shell_error(sh, "cw: %s failed: %d", what, err);
	}
}

int cw_start(const struct shell *sh)
{
	char response[64];
	char measured[16];
	const char *value;
	int q4_dbm;
	int err;

	shell_print(sh, "cw: band %d, %d.%d MHz, %d dBm requested", CONFIG_APP_CW_BAND,
				CONFIG_APP_CW_FREQUENCY_100KHZ / 10, CONFIG_APP_CW_FREQUENCY_100KHZ % 10,
				CONFIG_APP_CW_POWER_DBM);
	shell_warn(sh, "cw: transmits RF. Use a cabled setup or a shielded room.");

	/* %XRFTEST needs the radio off, and the NTN system mode for bands 255/256. */
	err = modem_enter_min_func();
	if (err)
	{
		return err;
	}

	err = antenna_select(ANTENNA_PATH_LTE);
	if (err)
	{
		return err;
	}

	err = lte_lc_system_mode_set(LTE_LC_SYSTEM_MODE_NTN_NBIOT, LTE_LC_SYSTEM_MODE_PREFER_AUTO);
	if (err)
	{
		shell_error(sh, "cw: failed to set NTN system mode: %d", err);
		return err;
	}

	err = nrf_modem_at_cmd(response, sizeof(response),
						   "AT%%XRFTEST=1,1,%d,%d,%d,%d,%d,0,0,0,0,0,0",
						   CONFIG_APP_CW_BAND, CONFIG_APP_CW_FREQUENCY_100KHZ,
						   CONFIG_APP_CW_POWER_DBM, XRFTEST_SYSTEM_MODE_NBIOT,
						   XRFTEST_MODULATION_CW);
	if (err)
	{
		print_at_error(sh, "AT%XRFTEST TX on", err);
		(void)nrf_modem_at_printf("AT%%XRFTEST=1,0");
		(void)modem_enter_min_func();
		return -EIO;
	}

	cw_active = true;

	/* Response: "%XRFTEST: <antenna_power>", in q4 dBm (divide by 16). */
	value = strstr(response, "%XRFTEST:");
	if (value != NULL)
	{
		q4_dbm = atoi(value + sizeof("%XRFTEST:") - 1);
		snprintf(measured, sizeof(measured), "%.1f", (double)q4_dbm / 16.0);
		shell_print(sh, "cw: transmitting. Measured power at the antenna port: %s dBm "
					"(raw %d q4 dBm, requested %d dBm)",
					measured, q4_dbm, CONFIG_APP_CW_POWER_DBM);
	}
	else
	{
		shell_print(sh, "cw: transmitting. Unexpected response: %s", response);
	}

	shell_print(sh, "cw: 'cw stop' ends the test");
	return 0;
}

int cw_stop(const struct shell *sh)
{
	int err;

	if (!cw_active)
	{
		return -EALREADY;
	}

	err = nrf_modem_at_printf("AT%%XRFTEST=1,0");
	if (err)
	{
		print_at_error(sh, "AT%XRFTEST TX off", err);
	}

	cw_active = false;
	(void)modem_enter_min_func();
	shell_print(sh, "cw: stopped, modem offline");
	return 0;
}
```

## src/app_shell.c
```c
/*
 * SPDX-License-Identifier: Apache-2.0
 */

#include "app_internal.h"

#include <errno.h>
#include <string.h>

#include <zephyr/shell/shell.h>

/* Tests that reconfigure the modem (CW, GNSS, LTE, SIM) run one at a time. */
static bool modem_available;
static atomic_t modem_busy;
static const char *modem_owner = "none";

void modem_tests_enable(void)
{
	modem_available = true;
}

static bool modem_test_claim(const struct shell *sh, const char *name)
{
	if (!modem_available)
	{
		shell_error(sh, "Modem not available, see the boot log");
		return false;
	}

	if (!atomic_cas(&modem_busy, 0, 1))
	{
		shell_error(sh, "Modem busy: '%s' test is running, stop it first", modem_owner);
		return false;
	}

	modem_owner = name;
	return true;
}

void modem_test_release(void)
{
	modem_owner = "none";
	atomic_set(&modem_busy, 0);
}

static bool modem_test_is(const char *name)
{
	return atomic_get(&modem_busy) && strcmp(modem_owner, name) == 0;
}

/* led */

static int cmd_led_start(const struct shell *sh, size_t argc, char **argv)
{
	ARG_UNUSED(argc);
	ARG_UNUSED(argv);

	if (leds_test_start() == -EALREADY)
	{
		shell_warn(sh, "led: already running");
		return 0;
	}

	shell_print(sh, "led: cycling green, orange, red, then all on. 'led stop' ends the test.");
	return 0;
}

static int cmd_led_stop(const struct shell *sh, size_t argc, char **argv)
{
	ARG_UNUSED(argc);
	ARG_UNUSED(argv);

	if (leds_test_stop() == -EALREADY)
	{
		shell_warn(sh, "led: not running");
		return 0;
	}

	shell_print(sh, "led: stopped");
	return 0;
}

SHELL_STATIC_SUBCMD_SET_CREATE(sub_led,
	SHELL_CMD(start, NULL, "Cycle the LEDs every 0.5 s.", cmd_led_start),
	SHELL_CMD(stop, NULL, "Stop the LED test and turn the LEDs off.", cmd_led_stop),
	SHELL_SUBCMD_SET_END);
SHELL_CMD_REGISTER(led, &sub_led, "LED test", NULL);

/* button */

static int cmd_button_start(const struct shell *sh, size_t argc, char **argv)
{
	ARG_UNUSED(argc);
	ARG_UNUSED(argv);

	if (button_test_start(sh) == -EALREADY)
	{
		shell_warn(sh, "button: already running");
	}

	return 0;
}

static int cmd_button_stop(const struct shell *sh, size_t argc, char **argv)
{
	ARG_UNUSED(argc);
	ARG_UNUSED(argv);

	if (button_test_stop(sh) == -EALREADY)
	{
		shell_warn(sh, "button: not running");
	}

	return 0;
}

SHELL_STATIC_SUBCMD_SET_CREATE(sub_button,
	SHELL_CMD(start, NULL, "Report touch button presses and releases.", cmd_button_start),
	SHELL_CMD(stop, NULL, "Stop the button test.", cmd_button_stop),
	SHELL_SUBCMD_SET_END);
SHELL_CMD_REGISTER(button, &sub_button, "Touch button test", NULL);

/* cw */

static int cmd_cw_start(const struct shell *sh, size_t argc, char **argv)
{
	ARG_UNUSED(argc);
	ARG_UNUSED(argv);

	if (!modem_test_claim(sh, "cw"))
	{
		return -EBUSY;
	}

	if (cw_start(sh) != 0)
	{
		modem_test_release();
		return -EIO;
	}

	return 0;
}

static int cmd_cw_stop(const struct shell *sh, size_t argc, char **argv)
{
	ARG_UNUSED(argc);
	ARG_UNUSED(argv);

	if (!modem_test_is("cw") || cw_stop(sh) == -EALREADY)
	{
		shell_warn(sh, "cw: not running");
		return 0;
	}

	modem_test_release();
	return 0;
}

SHELL_STATIC_SUBCMD_SET_CREATE(sub_cw,
	SHELL_CMD(start, NULL, "Start the CW transmission (AT%XRFTEST) and print the measured power.",
			  cmd_cw_start),
	SHELL_CMD(stop, NULL, "Stop the CW transmission.", cmd_cw_stop),
	SHELL_SUBCMD_SET_END);
SHELL_CMD_REGISTER(cw, &sub_cw, "LTE CW TX test (band, frequency and power from Kconfig)", NULL);

/* gnss */

static int cmd_gnss_start(const struct shell *sh, size_t argc, char **argv)
{
	ARG_UNUSED(argc);
	ARG_UNUSED(argv);

	if (!modem_test_claim(sh, "gnss"))
	{
		return -EBUSY;
	}

	if (gnss_test_start(sh) != 0)
	{
		modem_test_release();
		return -EIO;
	}

	return 0;
}

static int cmd_gnss_stop(const struct shell *sh, size_t argc, char **argv)
{
	ARG_UNUSED(argc);
	ARG_UNUSED(argv);

	if (!modem_test_is("gnss") || gnss_test_stop(sh) == -EALREADY)
	{
		shell_warn(sh, "gnss: not running");
		return 0;
	}

	modem_test_release();
	return 0;
}

SHELL_STATIC_SUBCMD_SET_CREATE(sub_gnss,
	SHELL_CMD(start, NULL, "Start continuous GNSS reception with NMEA output.", cmd_gnss_start),
	SHELL_CMD(stop, NULL, "Stop GNSS reception.", cmd_gnss_stop),
	SHELL_SUBCMD_SET_END);
SHELL_CMD_REGISTER(gnss, &sub_gnss, "GNSS test (positions are not stored)", NULL);

/* lte */

static int cmd_lte_send(const struct shell *sh, size_t argc, char **argv)
{
	ARG_UNUSED(argc);
	ARG_UNUSED(argv);

	if (!modem_test_claim(sh, "lte"))
	{
		return -EBUSY;
	}

	/* Runs in the background; the job releases the modem when it ends. */
	lte_message_start(sh);
	return 0;
}

static int cmd_lte_abort(const struct shell *sh, size_t argc, char **argv)
{
	ARG_UNUSED(argc);
	ARG_UNUSED(argv);

	if (lte_message_abort() == -EALREADY)
	{
		shell_warn(sh, "lte: not running");
		return 0;
	}

	shell_print(sh, "lte: aborting...");
	return 0;
}

SHELL_STATIC_SUBCMD_SET_CREATE(sub_lte,
	SHELL_CMD(send, NULL, "NTN attach and send one CoAP message with the configured location.", cmd_lte_send),
	SHELL_CMD(abort, NULL, "Abort a running 'lte send' while it waits for the network.",
			  cmd_lte_abort),
	SHELL_SUBCMD_SET_END);
SHELL_CMD_REGISTER(lte, &sub_lte, "LTE message test", NULL);

/* sim */

static int cmd_sim(const struct shell *sh, size_t argc, char **argv)
{
	int err;

	ARG_UNUSED(argc);
	ARG_UNUSED(argv);

	if (!modem_test_claim(sh, "sim"))
	{
		return -EBUSY;
	}

	err = sim_test(sh);
	modem_test_release();
	return err;
}

SHELL_CMD_REGISTER(sim, NULL, "Check that a SIM card is present (ICCID, IMSI)", cmd_sim);
```
